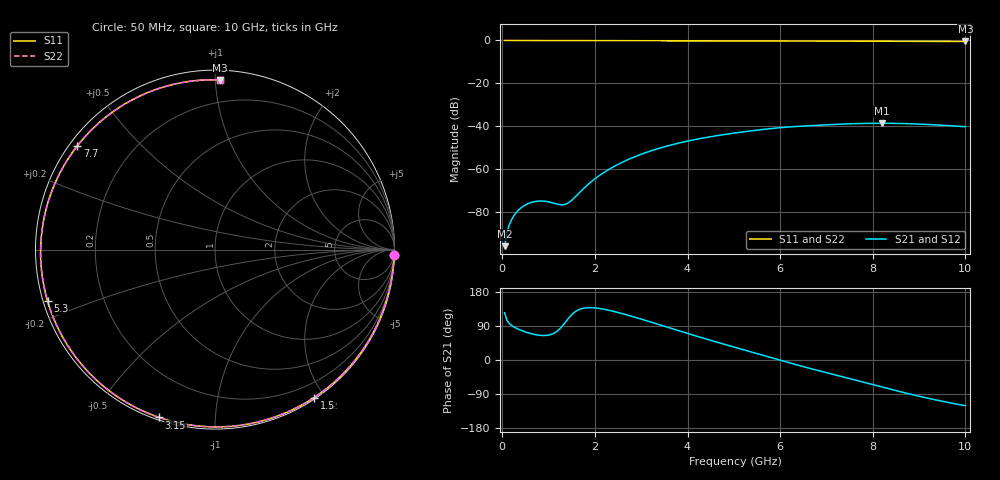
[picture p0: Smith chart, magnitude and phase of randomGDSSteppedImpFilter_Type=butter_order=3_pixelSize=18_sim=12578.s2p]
! freq	dB(S11)	phase(S11)	dB(S12)	phase(S12)
!  dB(S21)	phase(S21)	dB(S22)	phase(S22)
!S-par simulation data
#  GHz  S  DB  R 50
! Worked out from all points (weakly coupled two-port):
!   200 points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, 50 MHz to 10 GHz, reference 50 ohm
!   highest |S21| = -38.58 dB at 8.2 GHz (marker M1); lowest = -95.9 dB at 50 MHz (marker M2)
!   lowest |S11| = -0.5 dB at 10 GHz (marker M3), VSWR 35.76, Z = 2.88 + j51.5 ohm
!   |S11| at or under -10 dB: nowhere
!   |S22| runs from -0.5 to 0.0 dB; largest |S21 - S12| = 0
!   S11 on the Smith chart (normalised r, x): 50 MHz: 2, -61; 1.5 GHz: 0.02, -1.87; 3.15 GHz: 0.01, -0.72; 5.3 GHz: 0.01, -0.15; 7.7 GHz: 0.02, +0.33; 10 GHz: 0.06, +1.03
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0.05  -0.01 -1.9  -95.85 124.7  -95.85 124.7  -0.01 -1.9
0.3  -0.02 -11.6  -80.20 83.9  -80.20 83.9  -0.02 -11.6
0.5  -0.03 -19.3  -76.62 74.0  -76.62 74.0  -0.03 -19.3
0.7  -0.04 -26.9  -75.09 67.3  -75.09 67.3  -0.04 -26.9
0.9  -0.04 -34.4  -74.89 64.6  -74.89 64.6  -0.04 -34.4
1.3  -0.06 -49.1  -76.59 90.2  -76.59 90.2  -0.06 -49.1
1.5  -0.07 -56.2  -74.43 119.8  -74.43 119.8  -0.07 -56.2
1.75  -0.08 -64.8  -69.10 136.6  -69.10 136.6  -0.08 -64.8
2.05  -0.09 -74.9  -63.65 136.8  -63.65 136.8  -0.09 -74.9
2.35  -0.10 -84.5  -59.47 129.9  -59.47 129.9  -0.10 -84.5
3.15  -0.12 -108.4  -51.87 102.3  -51.87 102.3  -0.12 -108.5
3.4  -0.13 -115.4  -50.16 92.9  -50.16 92.9  -0.13 -115.4
4.25  -0.16 -137.7  -45.81 60.9  -45.81 60.9  -0.16 -137.7
5.05  -0.20 -157.1  -43.03 32.5  -43.03 32.5  -0.20 -157.1
5.3  -0.21 -162.9  -42.32 23.9  -42.32 23.9  -0.21 -162.9
6  -0.25 -178.9  -40.64 -0.4  -40.64 -0.4  -0.25 -178.9
6.7  -0.29 165.4  -39.65 -24.0  -39.65 -24.0  -0.29 165.4
7.7  -0.35 143.0  -38.72 -55.6  -38.72 -55.6  -0.35 142.9
8.2  -0.38 131.5  -38.58 -71.5  -38.58 -71.5  -0.38 131.5
8.35  -0.39 128.0  -38.60 -76.2  -38.60 -76.2  -0.39 128.0
9.2  -0.44 107.9  -39.16 -101.1  -39.16 -101.1  -0.44 107.9
10  -0.49 88.3  -40.19 -120.7  -40.19 -120.7  -0.49 88.2
